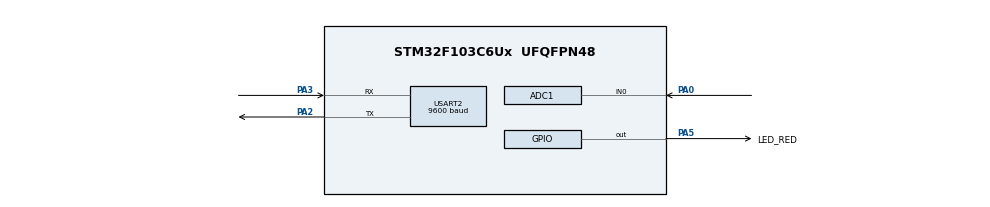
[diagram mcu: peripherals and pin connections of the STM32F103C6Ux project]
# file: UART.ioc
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ADC1.Channel-0\#ChannelRegularConversion=ADC_CHANNEL_0
ADC1.ContinuousConvMode=ENABLE
ADC1.NbrOfConversionFlag=1
ADC1.Rank-0\#ChannelRegularConversion=1
ADC1.SamplingTime-0\#ChannelRegularConversion=ADC_SAMPLETIME_1CYCLE_5
ADC1.master=1
Mcu.Family=STM32F1
Mcu.Name=STM32F103C6Ux
Mcu.Package=UFQFPN48
NVIC.ADC1_2_IRQn=true\:0\:0\:false\:false\:true\:true\:true
NVIC.PriorityGroup=NVIC_PRIORITYGROUP_4
NVIC.USART2_IRQn=true\:0\:0\:false\:false\:true\:true\:true
PA0-WKUP.Signal=ADCx_IN0
PA2.Mode=Asynchronous
PA2.Signal=USART2_TX
PA3.Mode=Asynchronous
PA3.Signal=USART2_RX
PA5.GPIO_Label=LED_RED
PA5.Signal=GPIO_Output
PA6.Signal=S_TIM3_CH1
ProjectManager.HeapSize=0x200
ProjectManager.StackSize=0x400
ProjectManager.TargetToolchain=STM32CubeIDE
RCC.APB1Freq_Value=8000000
RCC.APB2Freq_Value=8000000
SH.ADCx_IN0.0=ADC1_IN0,IN0
SH.S_TIM3_CH1.0=TIM3_CH1
TIM3.Period=9
TIM3.Prescaler=7999
USART2.BaudRate=9600
USART2.VirtualMode=VM_ASYNC
VP_SYS_VS_ND.Mode=No_Debug
VP_TIM3_VS_ClockSourceINT.Mode=Internal
board=custom

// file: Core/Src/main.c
/* USER CODE BEGIN Header */
/**
  ******************************************************************************
  * @file           : main.c
  * @brief          : Main program body
  ******************************************************************************
  * @attention
  *
  * <h2><center>&copy; Copyright (c) 2025 STMicroelectronics.
  * All rights reserved.</center></h2>
  *
  * This software component is licensed by ST under BSD 3-Clause license,
  * the "License"; You may not use this file except in compliance with the
  * License. You may obtain a copy of the License at:
  *                        opensource.org/licenses/BSD-3-Clause
  *
  ******************************************************************************
  */
/* USER CODE END Header */
#include "main.h"
#include <stdio.h>
#include <string.h>

ADC_HandleTypeDef hadc1;

TIM_HandleTypeDef htim3;

UART_HandleTypeDef huart2;

/* USER CODE BEGIN PV */
#define MAX_BUFFER_SIZE 30

uint8_t buffer[MAX_BUFFER_SIZE];
uint8_t index_buffer = 0;
uint8_t buffer_flag = 0;
uint8_t temp=0;

uint8_t waiting_for_ok = 0;
uint32_t timeout_counter = 0;
const uint32_t TIMEOUT_3S = 3000;

uint32_t current_adc_value = 0;

/* USER CODE END PV */

void SystemClock_Config(void);
static void MX_GPIO_Init(void);
static void MX_ADC1_Init(void);
static void MX_USART2_UART_Init(void);
static void MX_TIM3_Init(void);
/* USER CODE BEGIN PFP */
void first_uart_call()
{
	HAL_UART_Receive_IT(&huart2, &temp, 1);
}
void HAL_UART_RxCpltCallback(UART_HandleTypeDef *huart){
	if(huart->Instance == USART2){
		HAL_UART_Transmit(&huart2, &temp, 1, 100);

		buffer_flag = 1;
		HAL_UART_Receive_IT(&huart2, &temp, 1);
	}
}

void writemessage()
{
	char last_response[MAX_BUFFER_SIZE];
	current_adc_value = HAL_ADC_GetValue(&hadc1);
	sprintf(last_response, "\r!ADC=%ld#", current_adc_value);
	HAL_UART_Transmit(&huart2, (void *)last_response, strlen(last_response), 100);
}

int state =0;//0: start, 1: read, 2: end
int writeout=0;// 0:no write, 1: write
void command_parser_fsm(void)
{
	char cmd[15] = {0};
	if(temp == '!')
	{
		index_buffer = 0;
		state = 1;
	}
	if(state==1)
	{
		buffer[index_buffer++] = temp;
		if(index_buffer >= 30) index_buffer = 0;
		if(temp=='#')
		{
			state=2;
		}
	}
	if(state==2)
	{
		memcpy(cmd, &buffer[0], index_buffer);
		//HAL_UART_Transmit(&huart2, (void *)cmd, strlen(cmd), 100);
		if(strcmp(cmd,"!RST#")==0)
		{
			timeout_counter=0;
			index_buffer = 0;
			writeout=1;
			writemessage();
		}
		else if(strcmp(cmd,"!OK#")==0)
		{
			writeout=0;
			index_buffer = 0;
			timeout_counter=0;
		}

		state=0;
	}
}
void uart_communication_fsm(void)
{
	if(writeout==1)
	{
		timeout_counter++;
		if(timeout_counter >= TIMEOUT_3S && writeout==1)
		{
			writemessage();
			timeout_counter=0;
		}
	}
}
/* USER CODE END PFP */

int main(void)
{

  /* MCU Configuration--------------------------------------------------------*/

  /* Reset of all peripherals, Initializes the Flash interface and the Systick. */
  HAL_Init();

  /* Configure the system clock */
  SystemClock_Config();

  /* Initialize all configured peripherals */
  MX_GPIO_Init();
  MX_ADC1_Init();
  MX_USART2_UART_Init();
  MX_TIM3_Init();
  /* USER CODE BEGIN 2 */
  HAL_ADC_Start(&hadc1);
  //HAL_TIM_Base_Start_IT(&htim3);
  //HAL_UART_Receive_IT(&huart2, &temp, 1);  // Bắt đầu nhận UART
//  char msg[50] = "STM32 Ready";
//  HAL_UART_Transmit(&huart2, (void *)msg, strlen(msg), 100);
  first_uart_call();
  /* USER CODE END 2 */

  /* Infinite loop */
  /* USER CODE BEGIN WHILE */
//  uint32_t ADC_value = 0;
//  char str[20];
  while (1)
  {
	  if(buffer_flag == 1){
		   command_parser_fsm();
		   buffer_flag = 0;
	   }
	  uart_communication_fsm();
	  HAL_Delay(1);
    /* USER CODE END WHILE */

  }
}

void SystemClock_Config(void)
{
  RCC_OscInitTypeDef RCC_OscInitStruct = {0};
  RCC_ClkInitTypeDef RCC_ClkInitStruct = {0};
  RCC_PeriphCLKInitTypeDef PeriphClkInit = {0};

  /** Initializes the RCC Oscillators according to the specified parameters
  * in the RCC_OscInitTypeDef structure.
  */
  RCC_OscInitStruct.OscillatorType = RCC_OSCILLATORTYPE_HSI;
  RCC_OscInitStruct.HSIState = RCC_HSI_ON;
  RCC_OscInitStruct.HSICalibrationValue = RCC_HSICALIBRATION_DEFAULT;
  RCC_OscInitStruct.PLL.PLLState = RCC_PLL_NONE;
  if (HAL_RCC_OscConfig(&RCC_OscInitStruct) != HAL_OK)
  {
    Error_Handler();
  }
  /** Initializes the CPU, AHB and APB buses clocks
  */
  RCC_ClkInitStruct.ClockType = RCC_CLOCKTYPE_HCLK|RCC_CLOCKTYPE_SYSCLK
                              |RCC_CLOCKTYPE_PCLK1|RCC_CLOCKTYPE_PCLK2;
  RCC_ClkInitStruct.SYSCLKSource = RCC_SYSCLKSOURCE_HSI;
  RCC_ClkInitStruct.AHBCLKDivider = RCC_SYSCLK_DIV1;
  RCC_ClkInitStruct.APB1CLKDivider = RCC_HCLK_DIV1;
  RCC_ClkInitStruct.APB2CLKDivider = RCC_HCLK_DIV1;

  if (HAL_RCC_ClockConfig(&RCC_ClkInitStruct, FLASH_LATENCY_0) != HAL_OK)
  {
    Error_Handler();
  }
  PeriphClkInit.PeriphClockSelection = RCC_PERIPHCLK_ADC;
  PeriphClkInit.AdcClockSelection = RCC_ADCPCLK2_DIV2;
  if (HAL_RCCEx_PeriphCLKConfig(&PeriphClkInit) != HAL_OK)
  {
    Error_Handler();
  }
}

static void MX_ADC1_Init(void)
{

  ADC_ChannelConfTypeDef sConfig = {0};

  /** Common config
  */
  hadc1.Instance = ADC1;
  hadc1.Init.ScanConvMode = ADC_SCAN_DISABLE;
  hadc1.Init.ContinuousConvMode = ENABLE;
  hadc1.Init.DiscontinuousConvMode = DISABLE;
  hadc1.Init.ExternalTrigConv = ADC_SOFTWARE_START;
  hadc1.Init.DataAlign = ADC_DATAALIGN_RIGHT;
  hadc1.Init.NbrOfConversion = 1;
  if (HAL_ADC_Init(&hadc1) != HAL_OK)
  {
    Error_Handler();
  }
  /** Configure Regular Channel
  */
  sConfig.Channel = ADC_CHANNEL_0;
  sConfig.Rank = ADC_REGULAR_RANK_1;
  sConfig.SamplingTime = ADC_SAMPLETIME_1CYCLE_5;
  if (HAL_ADC_ConfigChannel(&hadc1, &sConfig) != HAL_OK)
  {
    Error_Handler();
  }

}

static void MX_TIM3_Init(void)
{

  TIM_ClockConfigTypeDef sClockSourceConfig = {0};
  TIM_MasterConfigTypeDef sMasterConfig = {0};

  htim3.Instance = TIM3;
  htim3.Init.Prescaler = 7999;
  htim3.Init.CounterMode = TIM_COUNTERMODE_UP;
  htim3.Init.Period = 9;
  htim3.Init.ClockDivision = TIM_CLOCKDIVISION_DIV1;
  htim3.Init.AutoReloadPreload = TIM_AUTORELOAD_PRELOAD_DISABLE;
  if (HAL_TIM_Base_Init(&htim3) != HAL_OK)
  {
    Error_Handler();
  }
  sClockSourceConfig.ClockSource = TIM_CLOCKSOURCE_INTERNAL;
  if (HAL_TIM_ConfigClockSource(&htim3, &sClockSourceConfig) != HAL_OK)
  {
    Error_Handler();
  }
  sMasterConfig.MasterOutputTrigger = TIM_TRGO_RESET;
  sMasterConfig.MasterSlaveMode = TIM_MASTERSLAVEMODE_DISABLE;
  if (HAL_TIMEx_MasterConfigSynchronization(&htim3, &sMasterConfig) != HAL_OK)
  {
    Error_Handler();
  }

}

static void MX_USART2_UART_Init(void)
{

  huart2.Instance = USART2;
  huart2.Init.BaudRate = 9600;
  huart2.Init.WordLength = UART_WORDLENGTH_8B;
  huart2.Init.StopBits = UART_STOPBITS_1;
  huart2.Init.Parity = UART_PARITY_NONE;
  huart2.Init.Mode = UART_MODE_TX_RX;
  huart2.Init.HwFlowCtl = UART_HWCONTROL_NONE;
  huart2.Init.OverSampling = UART_OVERSAMPLING_16;
  if (HAL_UART_Init(&huart2) != HAL_OK)
  {
    Error_Handler();
  }

}

static void MX_GPIO_Init(void)
{
  GPIO_InitTypeDef GPIO_InitStruct = {0};

  /* GPIO Ports Clock Enable */
  __HAL_RCC_GPIOA_CLK_ENABLE();

  /*Configure GPIO pin Output Level */
  HAL_GPIO_WritePin(LED_RED_GPIO_Port, LED_RED_Pin, GPIO_PIN_RESET);

  /*Configure GPIO pin : LED_RED_Pin */
  GPIO_InitStruct.Pin = LED_RED_Pin;
  GPIO_InitStruct.Mode = GPIO_MODE_OUTPUT_PP;
  GPIO_InitStruct.Pull = GPIO_NOPULL;
  GPIO_InitStruct.Speed = GPIO_SPEED_FREQ_LOW;
  HAL_GPIO_Init(LED_RED_GPIO_Port, &GPIO_InitStruct);

}

void Error_Handler(void)
{
  __disable_irq();
  while (1)
  {
  }
}

/************************ (C) COPYRIGHT STMicroelectronics *****END OF FILE****/
